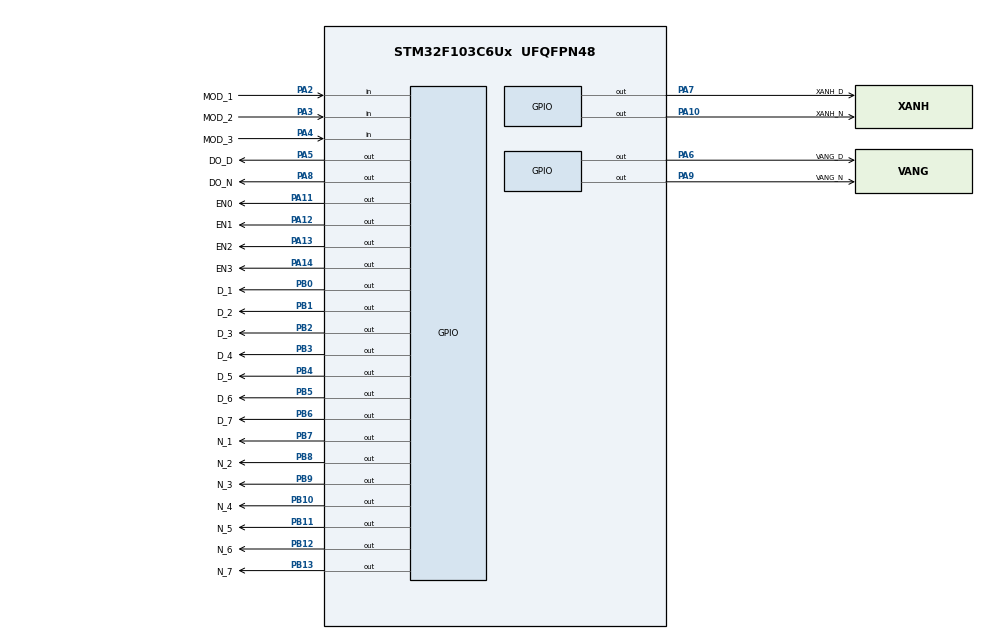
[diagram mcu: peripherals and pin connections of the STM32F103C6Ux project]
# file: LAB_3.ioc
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Mcu.Family=STM32F1
Mcu.Name=STM32F103C6Ux
Mcu.Package=UFQFPN48
NVIC.PriorityGroup=NVIC_PRIORITYGROUP_4
NVIC.TIM2_IRQn=true\:0\:0\:false\:false\:true\:true\:true
PA10.GPIO_Label=XANH_N
PA10.Signal=GPIO_Output
PA11.GPIO_Label=EN0
PA11.Signal=GPIO_Output
PA12.GPIO_Label=EN1
PA12.Signal=GPIO_Output
PA13.GPIO_Label=EN2
PA13.Signal=GPIO_Output
PA14.GPIO_Label=EN3
PA14.Signal=GPIO_Output
PA2.GPIO_Label=MOD_1
PA2.GPIO_PuPd=GPIO_PULLUP
PA2.Signal=GPIO_Input
PA3.GPIO_Label=MOD_2
PA3.GPIO_PuPd=GPIO_PULLUP
PA3.Signal=GPIO_Input
PA4.GPIO_Label=MOD_3
PA4.GPIO_PuPd=GPIO_PULLUP
PA4.Signal=GPIO_Input
PA5.GPIO_Label=DO_D
PA5.Signal=GPIO_Output
PA6.GPIO_Label=VANG_D
PA6.Signal=GPIO_Output
PA7.GPIO_Label=XANH_D
PA7.Signal=GPIO_Output
PA8.GPIO_Label=DO_N
PA8.Signal=GPIO_Output
PA9.GPIO_Label=VANG_N
PA9.Signal=GPIO_Output
PB0.GPIO_Label=D_1
PB0.Signal=GPIO_Output
PB1.GPIO_Label=D_2
PB1.Signal=GPIO_Output
PB10.GPIO_Label=N_4
PB10.Signal=GPIO_Output
PB11.GPIO_Label=N_5
PB11.Signal=GPIO_Output
PB12.GPIO_Label=N_6
PB12.Signal=GPIO_Output
PB13.GPIO_Label=N_7
PB13.Signal=GPIO_Output
PB2.GPIO_Label=D_3
PB2.Signal=GPIO_Output
PB3.GPIO_Label=D_4
PB3.Signal=GPIO_Output
PB4.GPIO_Label=D_5
PB4.Signal=GPIO_Output
PB5.GPIO_Label=D_6
PB5.Signal=GPIO_Output
PB6.GPIO_Label=D_7
PB6.Signal=GPIO_Output
PB7.GPIO_Label=N_1
PB7.Signal=GPIO_Output
PB8.GPIO_Label=N_2
PB8.Signal=GPIO_Output
PB9.GPIO_Label=N_3
PB9.Signal=GPIO_Output
ProjectManager.HeapSize=0x200
ProjectManager.StackSize=0x400
ProjectManager.TargetToolchain=STM32CubeIDE
RCC.APB1Freq_Value=8000000
RCC.APB2Freq_Value=8000000
TIM2.Period=9
TIM2.Prescaler=7999
VP_SYS_VS_ND.Mode=No_Debug
VP_TIM2_VS_ClockSourceINT.Mode=Internal
board=custom

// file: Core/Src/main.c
/* USER CODE BEGIN Header */
/**
  ******************************************************************************
  * @file           : main.c
  * @brief          : Main program body
  ******************************************************************************
  * @attention
  *
  * <h2><center>&copy; Copyright (c) 2025 STMicroelectronics.
  * All rights reserved.</center></h2>
  *
  * This software component is licensed by ST under BSD 3-Clause license,
  * the "License"; You may not use this file except in compliance with the
  * License. You may obtain a copy of the License at:
  *                        opensource.org/licenses/BSD-3-Clause
  *
  ******************************************************************************
  */
/* USER CODE END Header */
#include "main.h"

/* USER CODE BEGIN Includes */
#include "button.h"
#include "fsm.h"
#include "sche.h"
#include "software_timer.h"
/* USER CODE END Includes */

TIM_HandleTypeDef htim2;

void SystemClock_Config(void);
static void MX_GPIO_Init(void);
static void MX_TIM2_Init(void);

/* USER CODE BEGIN 0 */

#ifndef DEFAULT_SCAN_MS
#define DEFAULT_SCAN_MS 125
#endif
#ifndef DEFAULT_BLINK_MS
#define DEFAULT_BLINK_MS 50
#endif

/* USER CODE END 0 */

int main(void)
{

  /* MCU Configuration--------------------------------------------------------*/

  /* Reset of all peripherals, Initializes the Flash interface and the Systick. */
  HAL_Init();

  /* Configure the system clock */
  SystemClock_Config();

  /* Initialize all configured peripherals */
  MX_GPIO_Init();
  MX_TIM2_Init();
  /* USER CODE BEGIN 2 */
  SCH_Init();
  if (SCH_Add_Task(process_timers, 0, 1) == SCH_INVALID_TASK) {
	  Error_Handler();
  }
  if (SCH_Add_Task(process_input, 0, 1) == SCH_INVALID_TASK) {
	  Error_Handler();
  }
  if (SCH_Add_Task(execute_fsm, 0, 1) == SCH_INVALID_TASK) {
	  Error_Handler();
  }
  HAL_TIM_Base_Start_IT(&htim2);
  /* USER CODE END 2 */

  /* Infinite loop */
  /* USER CODE BEGIN WHILE */

  init_tmr1(DEFAULT_SCAN_MS);
  init_tmr2(DEFAULT_BLINK_MS);
  init_tmr3(DEFAULT_SCAN_MS);
  init_tmr4(DEFAULT_SCAN_MS);
  init_tmr5(DEFAULT_SCAN_MS);

  HAL_GPIO_WritePin(EN0_GPIO_Port, EN0_Pin, GPIO_PIN_SET);
  HAL_GPIO_WritePin(EN1_GPIO_Port, EN1_Pin, GPIO_PIN_SET);
  HAL_GPIO_WritePin(EN2_GPIO_Port, EN2_Pin, GPIO_PIN_SET);
  HAL_GPIO_WritePin(EN3_GPIO_Port, EN3_Pin, GPIO_PIN_SET);
  while (1) {
	  SCH_Dispatch_Tasks();
    /* USER CODE END WHILE */

  }
}

void SystemClock_Config(void)
{
  RCC_OscInitTypeDef RCC_OscInitStruct = {0};
  RCC_ClkInitTypeDef RCC_ClkInitStruct = {0};

  /** Initializes the RCC Oscillators according to the specified parameters
  * in the RCC_OscInitTypeDef structure.
  */
  RCC_OscInitStruct.OscillatorType = RCC_OSCILLATORTYPE_HSI;
  RCC_OscInitStruct.HSIState = RCC_HSI_ON;
  RCC_OscInitStruct.HSICalibrationValue = RCC_HSICALIBRATION_DEFAULT;
  RCC_OscInitStruct.PLL.PLLState = RCC_PLL_NONE;
  if (HAL_RCC_OscConfig(&RCC_OscInitStruct) != HAL_OK)
  {
    Error_Handler();
  }
  /** Initializes the CPU, AHB and APB buses clocks
  */
  RCC_ClkInitStruct.ClockType = RCC_CLOCKTYPE_HCLK|RCC_CLOCKTYPE_SYSCLK
                              |RCC_CLOCKTYPE_PCLK1|RCC_CLOCKTYPE_PCLK2;
  RCC_ClkInitStruct.SYSCLKSource = RCC_SYSCLKSOURCE_HSI;
  RCC_ClkInitStruct.AHBCLKDivider = RCC_SYSCLK_DIV1;
  RCC_ClkInitStruct.APB1CLKDivider = RCC_HCLK_DIV1;
  RCC_ClkInitStruct.APB2CLKDivider = RCC_HCLK_DIV1;

  if (HAL_RCC_ClockConfig(&RCC_ClkInitStruct, FLASH_LATENCY_0) != HAL_OK)
  {
    Error_Handler();
  }
}

static void MX_TIM2_Init(void)
{

  TIM_ClockConfigTypeDef sClockSourceConfig = {0};
  TIM_MasterConfigTypeDef sMasterConfig = {0};

  htim2.Instance = TIM2;
  htim2.Init.Prescaler = 7999;
  htim2.Init.CounterMode = TIM_COUNTERMODE_UP;
  htim2.Init.Period = 9;
  htim2.Init.ClockDivision = TIM_CLOCKDIVISION_DIV1;
  htim2.Init.AutoReloadPreload = TIM_AUTORELOAD_PRELOAD_DISABLE;
  if (HAL_TIM_Base_Init(&htim2) != HAL_OK)
  {
    Error_Handler();
  }
  sClockSourceConfig.ClockSource = TIM_CLOCKSOURCE_INTERNAL;
  if (HAL_TIM_ConfigClockSource(&htim2, &sClockSourceConfig) != HAL_OK)
  {
    Error_Handler();
  }
  sMasterConfig.MasterOutputTrigger = TIM_TRGO_RESET;
  sMasterConfig.MasterSlaveMode = TIM_MASTERSLAVEMODE_DISABLE;
  if (HAL_TIMEx_MasterConfigSynchronization(&htim2, &sMasterConfig) != HAL_OK)
  {
    Error_Handler();
  }

}

static void MX_GPIO_Init(void)
{
  GPIO_InitTypeDef GPIO_InitStruct = {0};

  /* GPIO Ports Clock Enable */
  __HAL_RCC_GPIOA_CLK_ENABLE();
  __HAL_RCC_GPIOB_CLK_ENABLE();

  /*Configure GPIO pin Output Level */
  HAL_GPIO_WritePin(GPIOA, DO_D_Pin|VANG_D_Pin|XANH_D_Pin|DO_N_Pin
                          |VANG_N_Pin|XANH_N_Pin|EN0_Pin|EN1_Pin
                          |EN2_Pin|EN3_Pin, GPIO_PIN_RESET);

  /*Configure GPIO pin Output Level */
  HAL_GPIO_WritePin(GPIOB, D_1_Pin|D_2_Pin|D_3_Pin|N_4_Pin
                          |N_5_Pin|N_6_Pin|N_7_Pin|D_4_Pin
                          |D_5_Pin|D_6_Pin|D_7_Pin|N_1_Pin
                          |N_2_Pin|N_3_Pin, GPIO_PIN_RESET);

  /*Configure GPIO pins : MOD_1_Pin MOD_2_Pin MOD_3_Pin */
  GPIO_InitStruct.Pin = MOD_1_Pin|MOD_2_Pin|MOD_3_Pin;
  GPIO_InitStruct.Mode = GPIO_MODE_INPUT;
  GPIO_InitStruct.Pull = GPIO_PULLUP;
  HAL_GPIO_Init(GPIOA, &GPIO_InitStruct);

  /*Configure GPIO pins : DO_D_Pin VANG_D_Pin XANH_D_Pin DO_N_Pin
                           VANG_N_Pin XANH_N_Pin EN0_Pin EN1_Pin
                           EN2_Pin EN3_Pin */
  GPIO_InitStruct.Pin = DO_D_Pin|VANG_D_Pin|XANH_D_Pin|DO_N_Pin
                          |VANG_N_Pin|XANH_N_Pin|EN0_Pin|EN1_Pin
                          |EN2_Pin|EN3_Pin;
  GPIO_InitStruct.Mode = GPIO_MODE_OUTPUT_PP;
  GPIO_InitStruct.Pull = GPIO_NOPULL;
  GPIO_InitStruct.Speed = GPIO_SPEED_FREQ_LOW;
  HAL_GPIO_Init(GPIOA, &GPIO_InitStruct);

  /*Configure GPIO pins : D_1_Pin D_2_Pin D_3_Pin N_4_Pin
                           N_5_Pin N_6_Pin N_7_Pin D_4_Pin
                           D_5_Pin D_6_Pin D_7_Pin N_1_Pin
                           N_2_Pin N_3_Pin */
  GPIO_InitStruct.Pin = D_1_Pin|D_2_Pin|D_3_Pin|N_4_Pin
                          |N_5_Pin|N_6_Pin|N_7_Pin|D_4_Pin
                          |D_5_Pin|D_6_Pin|D_7_Pin|N_1_Pin
                          |N_2_Pin|N_3_Pin;
  GPIO_InitStruct.Mode = GPIO_MODE_OUTPUT_PP;
  GPIO_InitStruct.Pull = GPIO_NOPULL;
  GPIO_InitStruct.Speed = GPIO_SPEED_FREQ_LOW;
  HAL_GPIO_Init(GPIOB, &GPIO_InitStruct);

}

/* USER CODE BEGIN 4 */
// Độ phức tạp là O(n)
//void HAL_TIM_PeriodElapsedCallback(TIM_HandleTypeDef *htim) {
//  if (htim->Instance == TIM2) {
//          SCH_Update();
//  }
//}

// Độ phức tạp là O(1)
void HAL_TIM_PeriodElapsedCallback(TIM_HandleTypeDef *htim) {
  if (htim->Instance == TIM2) {
          SCH_Update();
          SCH_Update();
          SCH_Update();
          SCH_Update();
          SCH_Update();
          SCH_Update();
          SCH_Update();
          SCH_Update();
  }
}
/* USER CODE END 4 */

void Error_Handler(void)
{
  __disable_irq();
  while (1)
  {
  }
}

/************************ (C) COPYRIGHT STMicroelectronics *****END OF FILE****/
